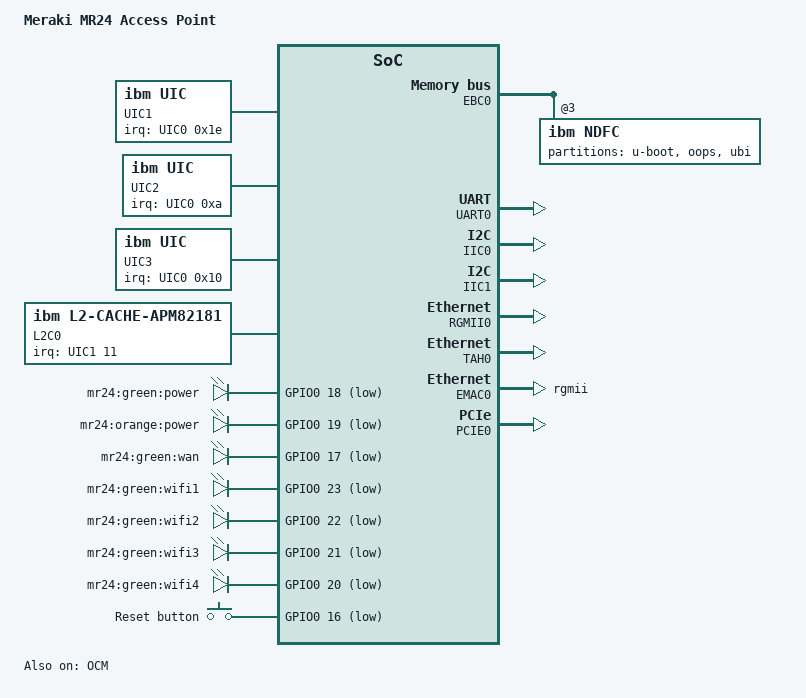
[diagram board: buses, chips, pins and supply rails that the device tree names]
/*
 * Device Tree Source for Meraki MR24 (Ikarem)
 *
 * Copyright (C) 2016 Chris Blake <chrisrblake93@gmail.com>
 *
 * Based on Cisco Meraki GPL Release r23-20150601 MR24 DTS
 *
 * This file is licensed under the terms of the GNU General Public
 * License version 2.  This program is licensed "as is" without
 * any warranty of any kind, whether express or implied.
 */

/dts-v1/;

/ {
	#address-cells = <2>;
	#size-cells = <1>;
	model = "Meraki MR24 Access Point";
	compatible = "meraki,ikarem";
	dcr-parent = <&{/cpus/cpu@0}>;

	aliases {
		ethernet0 = &EMAC0;
		serial0 = &UART0;
	};

	cpus {
		#address-cells = <1>;
		#size-cells = <0>;

		cpu@0 {
			device_type = "cpu";
			model = "PowerPC,apm821xx";
			reg = <0x00000000>;
			clock-frequency = <0>; /* Filled in by U-Boot */
			timebase-frequency = <0>; /* Filled in by U-Boot */
			i-cache-line-size = <32>;
			d-cache-line-size = <32>;
			i-cache-size = <32768>;
			d-cache-size = <32768>;
			dcr-controller;
			dcr-access-method = "native";
			next-level-cache = <&L2C0>;
		};
	};

	memory {
		device_type = "memory";
		reg = <0x00000000 0x00000000 0x00000000>; /* Filled in by U-Boot */
	};

	UIC0: interrupt-controller0 {
		compatible = "ibm,uic";
		interrupt-controller;
		cell-index = <0>;
		dcr-reg = <0x0c0 0x009>;
		#address-cells = <0>;
		#size-cells = <0>;
		#interrupt-cells = <2>;
	};

	UIC1: interrupt-controller1 {
		compatible = "ibm,uic";
		interrupt-controller;
		cell-index = <1>;
		dcr-reg = <0x0d0 0x009>;
		#address-cells = <0>;
		#size-cells = <0>;
		#interrupt-cells = <2>;
		interrupts = <0x1e 0x4 0x1f 0x4>; /* cascade */
		interrupt-parent = <&UIC0>;
	};

	UIC2: interrupt-controller2 {
		compatible = "ibm,uic";
		interrupt-controller;
		cell-index = <2>;
		dcr-reg = <0x0e0 0x009>;
		#address-cells = <0>;
		#size-cells = <0>;
		#interrupt-cells = <2>;
		interrupts = <0xa 0x4 0xb 0x4>; /* cascade */
		interrupt-parent = <&UIC0>;
	};

	UIC3: interrupt-controller3 {
		compatible = "ibm,uic";
		interrupt-controller;
		cell-index = <3>;
		dcr-reg = <0x0f0 0x009>;
		#address-cells = <0>;
		#size-cells = <0>;
		#interrupt-cells = <2>;
		interrupts = <0x10 0x4 0x11 0x4>; /* cascade */
		interrupt-parent = <&UIC0>;
	};

	/* KPH check the following */
	OCM: ocm@400040000 {
		compatible = "ibm,ocm";
		status = "okay";
		cell-index = <1>;
		/* configured in U-Boot */
		reg = <4 0x00040000 0x8000>; /* 32K */
	};

	SDR0: sdr {
		compatible = "ibm,sdr-apm821xx";
		dcr-reg = <0x00e 0x002>;
	};

	CPR0: cpr {
		compatible = "ibm,cpr-apm821xx";
		dcr-reg = <0x00c 0x002>;
	};

	L2C0: l2c {
		compatible = "ibm,l2-cache-apm82181", "ibm,l2-cache";
		dcr-reg = <0x020 0x008
			   0x030 0x008>;
		cache-line-size = <32>;
		cache-size = <262144>;
		interrupt-parent = <&UIC1>;
		interrupts = <11 1>;
	};

	/* kph check the below */
	CPM0: cpm {
		compatible = "ibm,cpm-apm821xx", "ibm,cpm";
		cell-index = <0>;
		dcr-reg = <0x160 0x003>;
		pm-cpu = <0x02000000>;
		pm-doze = <0x302570F0>;
		pm-nap = <0x302570F0>;
		pm-deepsleep = <0x302570F0>;
		pm-iic-device = <&IIC0>;
		pm-emac-device = <&EMAC0>;
	};

	plb {
		compatible = "ibm,plb4";
		#address-cells = <2>;
		#size-cells = <1>;
		ranges;
		clock-frequency = <0>; /* Filled in by U-Boot */

		SDRAM0: sdram {
			compatible = "ibm,sdram-apm821xx";
			dcr-reg = <0x010 0x002>;
		};

		/* kph check the below */
		CRYPTO: crypto@180000 {
			compatible = "amcc,ppc460ex-crypto", "amcc,ppc4xx-crypto";
			reg = <4 0x00180000 0x80400>;
			interrupt-parent = <&UIC0>;
			interrupts = <0x1d 0x4>;
		};

		/* kph check the below */
		PKA: pka@114000 {
			device_type = "pka";
			compatible = "ppc4xx-pka", "amcc,ppc4xx-pka";
			reg = <4 0x00114000 0x4000>;
			interrupt-parent = <&UIC0>;
			interrupts = <0x14 0x2>;
		};

		/* kph check the below */
		TRNG: trng@110000 {
			compatible = "ppc4xx-trng", "amcc,ppc460ex-rng";
			reg = <4 0x00110000 0x50>;
			interrupt-parent = <&UIC1>;
			interrupts = <0x3 0x2>;
		};

		MAL0: mcmal {
			compatible = "ibm,mcmal2";
			descriptor-memory = "ocm";
			dcr-reg = <0x180 0x062>;
			num-tx-chans = <1>;
			num-rx-chans = <1>;
			#address-cells = <0>;
			#size-cells = <0>;
			interrupt-parent = <&UIC2>;
			interrupts = <	/*TXEOB*/ 0x6 0x4
					/*RXEOB*/ 0x7 0x4
					/*SERR*/  0x3 0x4
					/*TXDE*/  0x4 0x4
					/*RXDE*/  0x5 0x4>;
		};

		POB0: opb {
			compatible = "ibm,opb";
			#address-cells = <1>;
			#size-cells = <1>;
			ranges = <0xb0000000 0x00000004 0xb0000000 0x50000000>;
			clock-frequency = <0>; /* Filled in by U-Boot */

			EBC0: ebc {
				compatible = "ibm,ebc";
				dcr-reg = <0x012 0x002>;
				#address-cells = <2>;
				#size-cells = <1>;
				clock-frequency = <0>; /* Filled in by U-Boot */
				/* ranges property is supplied by U-Boot */
				ranges = < 0x00000003 0x00000000 0xe0000000 0x8000000>;
				interrupts = <0x6 0x4>;
				interrupt-parent = <&UIC1>;

				/* Ikarem has 32MB of NAND */
				ndfc@1,0 {
					compatible = "ibm,ndfc";
					reg = <00000003 00000000 00000400>;
					ccr = <0x00001000>;
					bank-settings = <0x80002222>;
					#address-cells = <1>;
					#size-cells = <1>;
					/* 32 MiB NAND Flash */
					nand {
						#address-cells = <1>;
						#size-cells = <1>;
						partition@0 {
							label = "u-boot";
							reg = <0x00000000 0x00170000>;
							read-only;
						};
						partition@170000 {
							label = "oops";
							reg = <0x00170000 0x00010000>;
						};
						partition@180000 {
							label = "ubi";
							reg = <0x00180000 0x01e80000>;
						};
					};
				};
			};

			UART0: serial@ef600400 {
				device_type = "serial";
				compatible = "ns16550";
				reg = <0xef600400 0x00000008>;
				virtual-reg = <0xef600400>;
				clock-frequency = <0>; /* Filled in by U-Boot */
				current-speed = <0>; /* Filled in by U-Boot */
				interrupt-parent = <&UIC0>;
				interrupts = <0x1 0x4>;
			};

			GPIO0: gpio@ef600b00 {
				compatible = "ibm,ppc4xx-gpio";
				reg = <0xef600b00 0x00000048>;
				#gpio-cells = <2>;
				gpio-controller;
			};

			gpio-leds {
				compatible = "gpio-leds";
				power-green {
					label = "mr24:green:power";
					gpios = <&GPIO0 18 1>;
				};
				power-orange {
					label = "mr24:orange:power";
					gpios = <&GPIO0 19 1>;
				};
				lan {
					label = "mr24:green:wan";
					gpios = <&GPIO0 17 1>;
				};
				ssi-0 {
					label = "mr24:green:wifi1";
					gpios = <&GPIO0 23 1>;
				};
				ssi-1 {
					label = "mr24:green:wifi2";
					gpios = <&GPIO0 22 1>;
				};
				ssi-2 {
					label = "mr24:green:wifi3";
					gpios = <&GPIO0 21 1>;
				};
				ssi-3 {
					label = "mr24:green:wifi4";
					gpios = <&GPIO0 20 1>;
				};
			};

			gpio_keys_polled {
				compatible = "gpio-keys-polled";
				#address-cells = <1>;
				#size-cells = <0>;
				poll-interval = <60>;	/* 3 * 20 = 60ms */
				autorepeat;
				button@1 {
					label = "Reset button";
					linux,code = <0x198>; /* KEY_RESTART */
					gpios = <&GPIO0 16 1>;
				};
			};

			IIC0: i2c@ef600700 {
				compatible = "ibm,iic";
				reg = <0xef600700 0x00000014>;
				interrupt-parent = <&UIC0>;
				interrupts = <0x2 0x4>;
				#address-cells = <1>;
				#size-cells = <0>;
				/* Boot ROM is at 0x52-0x53, do not touch */
				/* Unknown chip at 0x6e, not sure what it is */
			};

			IIC1: i2c@ef600800 {
				compatible = "ibm,iic";
				reg = <0xef600800 0x00000014>;
				interrupt-parent = <&UIC0>;
				interrupts = <0x3 0x4>;
			};

			RGMII0: emac-rgmii@ef601500 {
				compatible = "ibm,rgmii";
				reg = <0xef601500 0x00000008>;
				has-mdio;
			};

			TAH0: emac-tah@ef601350 {
				compatible = "ibm,tah";
				reg = <0xef601350 0x00000030>;
			};

			EMAC0: ethernet@ef600c00 {
				device_type = "network";
				compatible = "ibm,emac-apm821xx", "ibm,emac4sync";
				interrupt-parent = <&EMAC0>;
				interrupts = <0x0 0x1>;
				#interrupt-cells = <1>;
				#address-cells = <0>;
				#size-cells = <0>;
				interrupt-map = </*Status*/ 0x0 &UIC2 0x10 0x4
						 /*Wake*/   0x1 &UIC2 0x14 0x4>;
				reg = <0xef600c00 0x000000c4>;
				local-mac-address = [000000000000]; /* Filled in by U-Boot */
				mal-device = <&MAL0>;
				mal-tx-channel = <0>;
				mal-rx-channel = <0>;
				cell-index = <0>;
				max-frame-size = <9000>;
				rx-fifo-size = <16384>;
				tx-fifo-size = <2048>;
				phy-mode = "rgmii";
				phy-map = <0x00000000>;
				rgmii-device = <&RGMII0>;
				rgmii-channel = <0>;
				tah-device = <&TAH0>;
				tah-channel = <0>;
				has-inverted-stacr-oc;
				has-new-stacr-staopc;
			};
		};

		PCIE0: pciex@d00000000 {
			device_type = "pci";
			#interrupt-cells = <1>;
			#size-cells = <2>;
			#address-cells = <3>;
			compatible = "ibm,plb-pciex-apm821xx", "ibm,plb-pciex";
			primary;
			port = <0x0>; /* port number */
			reg = <0x0000000d 0x00000000 0x20000000	/* Config space access */
			       0x0000000c 0x08010000 0x00001000>;	/* Registers */
			dcr-reg = <0x100 0x020>;
			sdr-base = <0x300>;

			/* Outbound ranges, one memory and one IO,
			 * later cannot be changed
			 */
			ranges = <0x02000000 0x00000000 0x80000000 0x0000000e 0x00000000 0x00000000 0x80000000
				  0x02000000 0x00000000 0x00000000 0x0000000f 0x00000000 0x00000000 0x00100000
				  0x01000000 0x00000000 0x00000000 0x0000000f 0x80000000 0x00000000 0x00010000>;

			/* Inbound 2GB range starting at 0 */
			dma-ranges = <0x42000000 0x0 0x0 0x0 0x0 0x0 0x80000000>;

			/* This drives busses 40 to 0x7f */
			bus-range = <0x40 0x7f>;

			/* Legacy interrupts (note the weird polarity, the bridge seems
			 * to invert PCIe legacy interrupts).
			 * We are de-swizzling here because the numbers are actually for
			 * port of the root complex virtual P2P bridge. But I want
			 * to avoid putting a node for it in the tree, so the numbers
			 * below are basically de-swizzled numbers.
			 * The real slot is on idsel 0, so the swizzling is 1:1
			 */
			interrupt-map-mask = <0x0 0x0 0x0 0x7>;
			interrupt-map = <
				0x0 0x0 0x0 0x1 &UIC3 0xc 0x4 /* swizzled int A */
				0x0 0x0 0x0 0x2 &UIC3 0xd 0x4 /* swizzled int B */
				0x0 0x0 0x0 0x3 &UIC3 0xe 0x4 /* swizzled int C */
				0x0 0x0 0x0 0x4 &UIC3 0xf 0x4 /* swizzled int D */>;
		};

		MSI: ppc4xx-msi@C10000000 {
			compatible = "amcc,ppc4xx-msi", "ppc4xx-msi";
			reg = < 0xC 0x10000000 0x100
				0xC 0x10000000 0x100>;
			sdr-base = <0x36C>;
			msi-data = <0x00004440>;
			msi-mask = <0x0000ffe0>;
			interrupts =<0 1 2 3 4 5 6 7>;
			interrupt-parent = <&MSI>;
			#interrupt-cells = <1>;
			#address-cells = <0>;
			#size-cells = <0>;
			msi-available-ranges = <0x0 0x100>;
			interrupt-map = <
				0 &UIC3 0x18 1
				1 &UIC3 0x19 1
				2 &UIC3 0x1A 1
				3 &UIC3 0x1B 1
				4 &UIC3 0x1C 1
				5 &UIC3 0x1D 1
				6 &UIC3 0x1E 1
				7 &UIC3 0x1F 1
			>;
		};
	};

	chosen {
		linux,stdout-path = "/plb/opb/serial@ef600400";
	};
};
